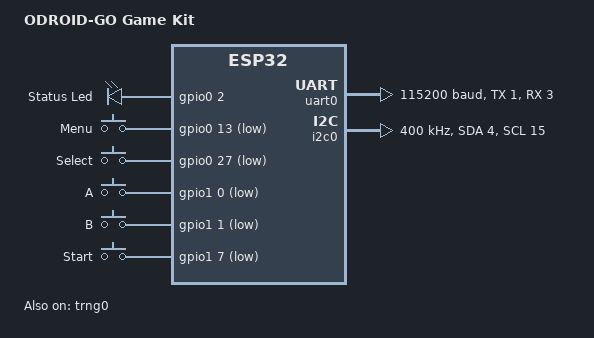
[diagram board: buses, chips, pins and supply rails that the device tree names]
/*
 * Copyright (c) 2019 Yannis Damigos
 *
 * SPDX-License-Identifier: Apache-2.0
 */
/dts-v1/;

#include "espressif/esp32.dtsi"

/ {
	model = "ODROID-GO Game Kit";
	compatible = "hardkernel,odroid-go", "espressif,esp32";

	chosen {
		zephyr,sram = &sram0;
		zephyr,console = &uart0;
		zephyr,shell-uart = &uart0;
	};

	leds {
		compatible = "gpio-leds";
		blue_led: led {
			gpios = <&gpio0 2 GPIO_INT_ACTIVE_HIGH>;
			label = "Status Led";
		};
	};

	gpio_keys {
		compatible = "gpio-keys";
		menu_button: menu_button {
			label = "Menu";
			gpios = <&gpio0 13 GPIO_INT_ACTIVE_LOW>;
		};
		select_button: select_button {
			label = "Select";
			gpios = <&gpio0 27 GPIO_INT_ACTIVE_LOW>;
		};
		a_button: a_button {
			label = "A";
			gpios = <&gpio1 0 GPIO_INT_ACTIVE_LOW>;
		};
		b_button: b_button {
			label = "B";
			gpios = <&gpio1 1 GPIO_INT_ACTIVE_LOW>;
		};
		start_button: start_button {
			label = "Start";
			gpios = <&gpio1 7 GPIO_INT_ACTIVE_LOW>;
		};
	};

	aliases {
		uart-0 = &uart0;
		led0 = &blue_led;
		sw0 = &menu_button;
	};
};

&cpu0 {
	clock-frequency = <40000000>;
};

&cpu1 {
	clock-frequency = <40000000>;
};

&uart0 {
	status = "okay";
	current-speed = <115200>;
	tx-pin = <1>;
	rx-pin = <3>;
};

&i2c0 {
	status = "okay";
	clock-frequency = <I2C_BITRATE_FAST>;
	sda-pin = <4>;
	scl-pin = <15>;
};

&trng0 {
	status = "okay";
};
